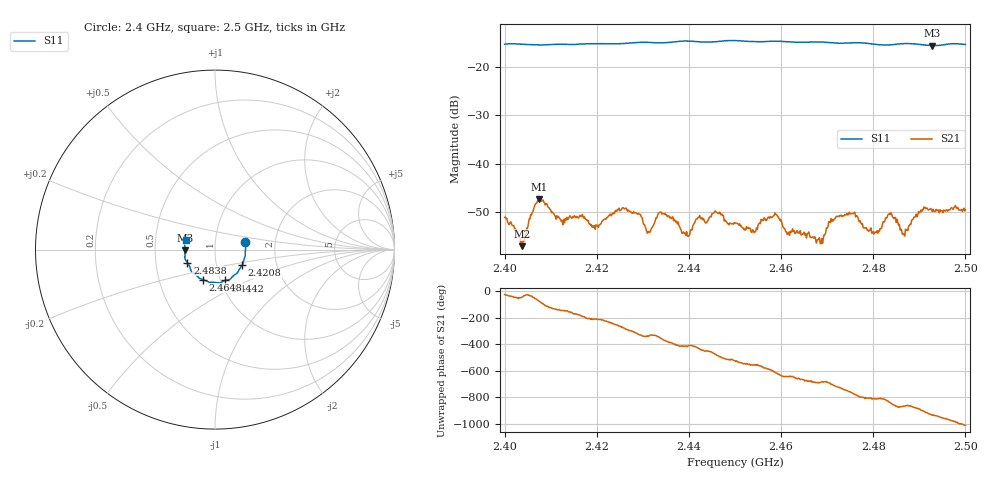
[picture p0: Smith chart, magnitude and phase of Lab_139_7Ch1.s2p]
# Hz S RI R 50
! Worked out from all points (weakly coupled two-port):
!   601 points, 2.4 GHz to 2.5 GHz, reference 50 ohm
!   highest |S21| = -47.33 dB at 2.4075 GHz (marker M1); lowest = -57.1 dB at 2.4038 GHz (marker M2)
!   lowest |S11| = -15.6 dB at 2.4928 GHz (marker M3), VSWR 1.40, Z = 35.8 - j0.364 ohm
!   |S11| at or under -10 dB: start of sweep to end of sweep
!   S12 and S22 are empty: the file has one direction only
!   S11 on the Smith chart (normalised r, x): 2.4 GHz: 1.40, +0.12; 2.4208 GHz: 1.33, -0.24; 2.4442 GHz: 1.05, -0.37; 2.4648 GHz: 0.83, -0.29; 2.4838 GHz: 0.73, -0.11; 2.5 GHz: 0.72, +0.08
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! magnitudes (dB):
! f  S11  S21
! 2.4 GHz  -15.3  -51.1
! 2.4038 GHz  -15.3  -57.1
! 2.4075 GHz  -15.4  -47.3
! 2.4167 GHz  -15.2  -50.9
! 2.4208 GHz  -15.2  -52.5
! 2.426 GHz  -15.1  -49.3
! 2.4313 GHz  -14.9  -54.0
! 2.4333 GHz  -15.0  -50.4
! 2.4397 GHz  -14.6  -54.9
! 2.4442 GHz  -14.9  -51.7
! 2.45 GHz  -14.5  -52.2
! 2.454 GHz  -14.8  -53.8
! 2.4588 GHz  -14.7  -50.5
! 2.4648 GHz  -14.9  -54.5
! 2.4667 GHz  -14.8  -55.3
! 2.4753 GHz  -15.0  -50.3
! 2.4807 GHz  -15.3  -54.3
! 2.4833 GHz  -15.4  -50.4
! 2.4838 GHz  -15.4  -50.1
! 2.4867 GHz  -15.2  -54.5
! 2.4928 GHz  -15.6  -49.9
! 2.5 GHz  -15.3  -49.5
